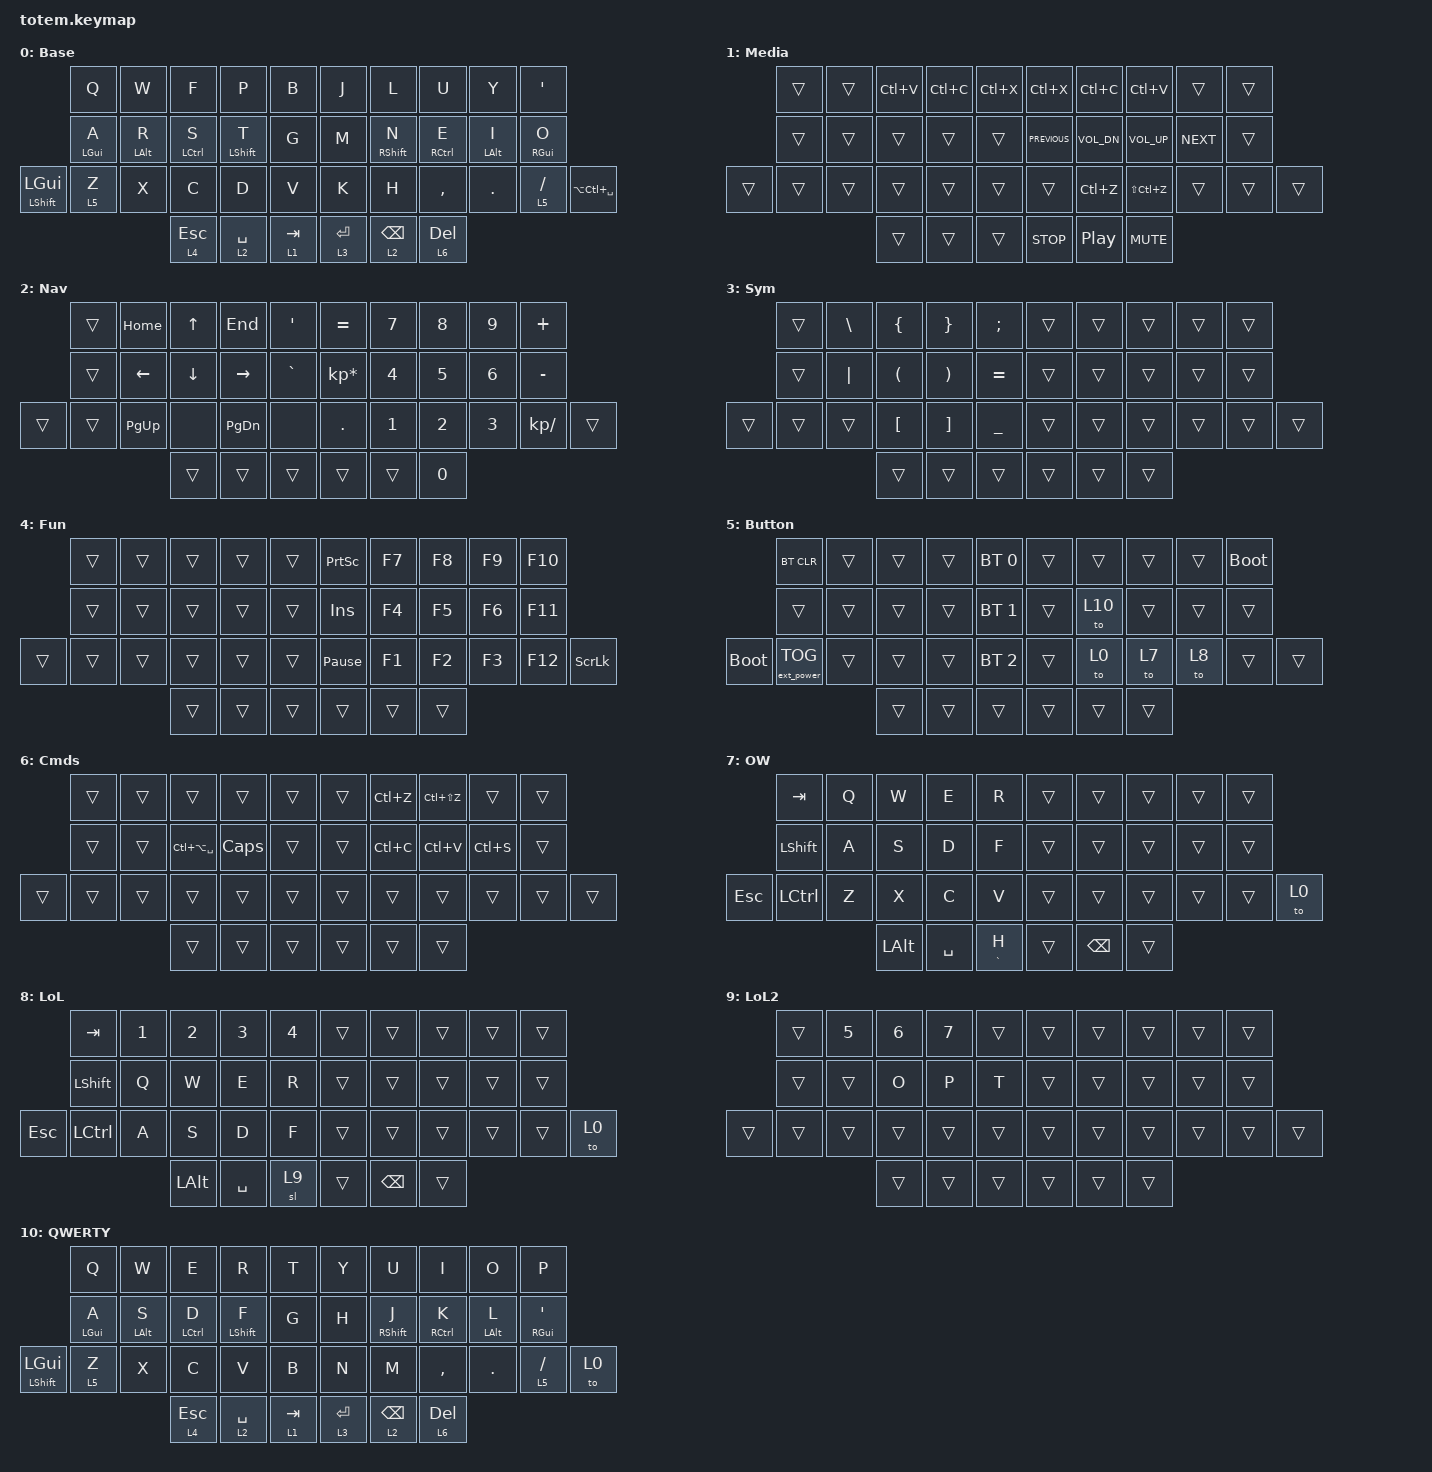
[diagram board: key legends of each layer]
//
//                                                        ▀▀▀▀▀     ▀▀▀▀▀          ▀▀█▀▀
//                                                        ▄▀▀▀▄  ▄  ▄▀▀▀▄  ▄  ▄▀▀▀▄  █  ▄▀▀▀▄
//                                                        █   █  █  █   █  █  █   █  █  █   █
//                                                         ▀▀▀   █   ▀▀▀   █   ▀▀▀   ▀   ▀▀▀
//                                                               █      ▄▄▄█▄▄▄    █   █
//                                                               ▀      █  █  █     █▄█
//                                                             ▀▀▀▀▀    █  █  █      ▀
//                                                                      ▀  ▀  ▀
//
// ▄▄▄▄▄▄▄▄▄▄▄▄▄▄▄▄▄▄▄▄▄▄▄▄▄▄▄▄▄▄▄▄▄▄▄▄▄▄▄▄▄▄▄▄▄▄▄▄▄▄▄▄▄▄▄▄▄▄▄▄▄▄▄▄▄▄▄▄▄▄▄▄▄▄▄▄▄▄▄▄▄▄▄▄▄▄▄▄▄▄▄▄▄▄▄▄▄▄▄▄▄▄▄▄▄▄▄▄▄▄▄▄▄▄▄▄▄▄▄▄▄▄▄▄▄▄▄▄▄▄▄▄▄▄▄▄▄▄▄▄▄▄▄▄▄▄▄▄▄

#include <behaviors.dtsi>
#include <dt-bindings/zmk/bt.h>
#include <dt-bindings/zmk/ext_power.h>
#include <dt-bindings/zmk/keys.h>

&mt {
    quick-tap-ms = <100>;
    flavor = "tap-preferred";
    tapping-term-ms = <170>;
};

&lt {
    tapping-term-ms = <240>;
    flavor = "balanced";
    quick-tap-ms = <150>;
};

/ {
    behaviors {
        hrm_l: hrm_l {
            compatible = "zmk,behavior-hold-tap";
            bindings = <&kp>, <&kp>;

            #binding-cells = <2>;
            tapping-term-ms = <280>;
            quick-tap-ms = <100>;
            require-prior-idle-ms = <80>;
            flavor = "balanced";
            hold-trigger-on-release;
            hold-trigger-key-positions = <15 26 27 16 5 6 7 28 17 8 18 29 30 19 9 31 5 6 7 8 9 15 16 17 18 19 26 27 28 29 30 31 35 36 37>;
        };

        hrm_r: hrm_r {
            compatible = "zmk,behavior-hold-tap";
            bindings = <&kp>, <&kp>;

            #binding-cells = <2>;
            tapping-term-ms = <280>;
            quick-tap-ms = <100>;
            require-prior-idle-ms = <80>;
            flavor = "balanced";
            hold-trigger-on-release;
            hold-trigger-key-positions = <0 1 2 3 4 10 11 12 13 14 20 21 22 23 24 25 32 33 34>;
        };

        lt_sym: lt_sym {
            compatible = "zmk,behavior-hold-tap";
            #binding-cells = <2>;
            bindings = <&mo>, <&kp>;

            flavor = "hold-preferred";
            tapping-term-ms = <180>;
            quick-tap-ms = <0>;
        };

        lt_prefer_tap: lt_prefer_tap {
            compatible = "zmk,behavior-hold-tap";
            #binding-cells = <2>;
            bindings = <&mo>, <&kp>;

            flavor = "tap-preferred";
            tapping-term-ms = <240>;
            quick-tap-ms = <150>;
        };
    };

    combos {
        compatible = "zmk,combos";

        change-screen-r {
            bindings = <&kp LC(LG(RIGHT))>;
            key-positions = <7 8>;
            layers = <2>;
        };

        change-screen-l {
            bindings = <&kp LC(LG(LEFT))>;
            key-positions = <7 6>;
            layers = <2>;
        };

        tilde {
            bindings = <&kp TILDE>;
            key-positions = <6 7>;
            layers = <0 10>;
        };

        move-window-r {
            bindings = <&kp LG(LS(RIGHT))>;
            key-positions = <28 29>;
            layers = <2>;
        };

        move-window-l {
            bindings = <&kp LG(LS(LEFT))>;
            key-positions = <27 28>;
            layers = <2>;
        };

        grave {
            bindings = <&kp GRAVE>;
            key-positions = <7 8>;
            layers = <0 10>;
        };

        cedilha {
            bindings = <&kp RA(COMMA)>;
            key-positions = <23 24>;
            layers = <0 10>;
        };

        move-workspace-r {
            bindings = <&kp LG(LS(PAGE_DOWN))>;
            key-positions = <3 2>;
            layers = <2>;
        };

        move-workspace-l {
            bindings = <&kp LG(LS(PAGE_UP))>;
            key-positions = <2 1>;
            layers = <2>;
        };

        colon {
            bindings = <&kp COLON>;
            key-positions = <2 3>;
            layers = <0 10>;
        };

        quote {
            bindings = <&kp SINGLE_QUOTE>;
            key-positions = <2 1>;
            layers = <0 10>;
        };
    };

    keymap {
        compatible = "zmk,keymap";

        Base {
            display-name = "Base";
            bindings = <
                     &kp Q          &kp W          &kp F           &kp P            &kp B        &kp J            &kp L           &kp U           &kp Y          &kp SQT
                     &hrm_l LGUI A  &hrm_l LALT R  &hrm_l LCTRL S  &hrm_l LSHIFT T  &kp G        &kp M            &hrm_r RSHFT N  &hrm_r RCTRL E  &hrm_r LALT I  &hrm_r RGUI O
&mt LSHIFT LEFT_GUI  &lt_prefer_tap 5 Z &kp X          &kp C           &kp D            &kp V        &kp K            &kp H           &kp COMMA       &kp DOT        &lt_prefer_tap 5 SLASH    &kp LA(LC(SPACE))
                                                   &lt 4 ESC       &lt 2 SPACE      &lt 1 TAB    &lt_sym 3 ENTER  &lt 2 BSPC      &lt 6 DELETE
            >;
        };

        Media {
            bindings = <
        &trans  &trans  &kp LC(V)  &kp LC(C)  &kp LC(X)    &kp LC(X)       &kp LC(C)         &kp LC(V)        &trans      &trans
        &trans  &trans  &trans     &trans     &trans       &kp C_PREVIOUS  &kp C_VOL_DN      &kp C_VOLUME_UP  &kp C_NEXT  &trans
&trans  &trans  &trans  &trans     &trans     &trans       &trans          &kp LC(Z)         &kp LS(LC(Z))    &trans      &trans  &trans
                        &trans     &trans     &trans       &kp C_STOP      &kp C_PLAY_PAUSE  &kp C_MUTE
            >;

            display-name = "Media";
        };

        Nav {
            display-name = "Nav";
            bindings = <
        &trans  &kp HOME     &kp UP_ARROW  &kp END    &kp SINGLE_QUOTE    &kp EQUAL        &kp NUMBER_7  &kp NUMBER_8  &kp NUMBER_9  &kp PLUS
        &trans  &kp LEFT     &kp DOWN      &kp RIGHT  &kp GRAVE           &kp KP_MULTIPLY  &kp NUMBER_4  &kp NUMBER_5  &kp NUMBER_6  &kp MINUS
&trans  &trans  &kp PAGE_UP  &none         &kp PG_DN  &none               &kp PERIOD       &kp NUMBER_1  &kp NUMBER_2  &kp NUMBER_3  &kp KP_DIVIDE  &trans
                             &trans        &trans     &trans              &trans           &trans        &kp NUMBER_0
            >;
        };

        Sym {
            display-name = "Sym";
            bindings = <
        &trans  &kp BACKSLASH  &kp LEFT_BRACE        &kp RIGHT_BRACE        &kp SEMICOLON    &trans  &trans  &trans  &trans  &trans
        &trans  &kp PIPE       &kp LEFT_PARENTHESIS  &kp RIGHT_PARENTHESIS  &kp EQUAL        &trans  &trans  &trans  &trans  &trans
&trans  &trans  &trans         &kp LEFT_BRACKET      &kp RIGHT_BRACKET      &kp UNDER        &trans  &trans  &trans  &trans  &trans  &trans
                               &trans                &trans                 &trans           &trans  &trans  &trans
            >;
        };

        Fun {
            display-name = "Fun";
            bindings = <
        &trans  &trans  &trans  &trans  &trans    &kp PRINTSCREEN  &kp F7  &kp F8  &kp F9  &kp F10
        &trans  &trans  &trans  &trans  &trans    &kp INS          &kp F4  &kp F5  &kp F6  &kp F11
&trans  &trans  &trans  &trans  &trans  &trans    &kp PAUSE_BREAK  &kp F1  &kp F2  &kp F3  &kp F12  &kp SCROLLLOCK
                        &trans  &trans  &trans    &trans           &trans  &trans
            >;
        };

        Button {
            display-name = "Button";
            bindings = <
             &bt BT_CLR         &trans  &trans  &trans  &bt BT_SEL 0    &trans  &trans  &trans  &trans  &bootloader
             &trans             &trans  &trans  &trans  &bt BT_SEL 1    &trans  &to 10  &trans  &trans  &trans
&bootloader  &ext_power EP_TOG  &trans  &trans  &trans  &bt BT_SEL 2    &trans  &to 0   &to 7   &to 8   &trans       &trans
                                        &trans  &trans  &trans          &trans  &trans  &trans
            >;
        };

        Cmds {
            bindings = <
        &trans  &trans  &trans             &trans        &trans    &trans  &kp LC(Z)  &kp LC(LS(Z))  &trans     &trans
        &trans  &trans  &kp LC(LA(SPACE))  &kp CAPSLOCK  &trans    &trans  &kp LC(C)  &kp LC(V)      &kp LC(S)  &trans
&trans  &trans  &trans  &trans             &trans        &trans    &trans  &trans     &trans         &trans     &trans  &trans
                        &trans             &trans        &trans    &trans  &trans     &trans
            >;
        };

        OW {
            bindings = <
         &kp TAB    &kp Q  &kp W     &kp E      &kp R          &trans  &trans         &trans  &trans  &trans
         &kp LSHFT  &kp A  &kp S     &kp D      &kp F          &trans  &trans         &trans  &trans  &trans
&kp ESC  &kp LCTRL  &kp Z  &kp X     &kp C      &kp V          &trans  &trans         &trans  &trans  &trans  &to 0
                           &kp LALT  &kp SPACE  &mt GRAVE H    &trans  &kp BACKSPACE  &trans
            >;
        };

        LoL {
            bindings = <
         &kp TAB     &kp NUMBER_1  &kp NUMBER_2  &kp NUMBER_3  &kp NUMBER_4    &trans  &trans         &trans  &trans  &trans
         &kp LSHIFT  &kp Q         &kp W         &kp E         &kp R           &trans  &trans         &trans  &trans  &trans
&kp ESC  &kp LCTRL   &kp A         &kp S         &kp D         &kp F           &trans  &trans         &trans  &trans  &trans  &to 0
                                   &kp LALT      &kp SPACE     &sl 9           &trans  &kp BACKSPACE  &trans
            >;
        };

        LoL2 {
            bindings = <
        &trans  &kp NUMBER_5  &kp NUMBER_6  &kp NUMBER_7  &trans    &trans  &trans  &trans  &trans  &trans
        &trans  &trans        &kp O         &kp P         &kp T     &trans  &trans  &trans  &trans  &trans
&trans  &trans  &trans        &trans        &trans        &trans    &trans  &trans  &trans  &trans  &trans  &trans
                              &trans        &trans        &trans    &trans  &trans  &trans
            >;
        };

        qwerty {
            display-name = "QWERTY";
            bindings = <
                     &kp Q          &kp W          &kp E           &kp R            &kp T        &kp Y        &kp U           &kp I           &kp O          &kp P
                     &hrm_l LGUI A  &hrm_l LALT S  &hrm_l LCTRL D  &hrm_l LSHIFT F  &kp G        &kp H        &hrm_r RSHFT J  &hrm_r RCTRL K  &hrm_r LALT L  &hrm_r RGUI SQT
&mt LSHIFT LEFT_GUI  &lt_prefer_tap 5 Z &kp X          &kp C           &kp V            &kp B        &kp N        &kp M           &kp COMMA       &kp DOT        &lt_prefer_tap 5 SLASH      &to 0
                                                   &lt_sym 4 ESC   &lt 2 SPACE      &lt 1 TAB    &lt 3 ENTER  &lt 2 BSPC      &lt 6 DELETE
            >;
        };
    };
};
